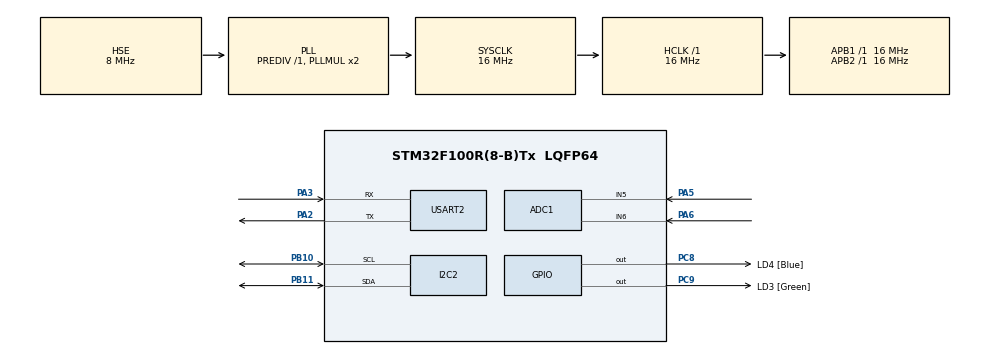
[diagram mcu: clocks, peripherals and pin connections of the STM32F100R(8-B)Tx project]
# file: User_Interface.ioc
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ADC1.Channel-2\#ChannelRegularConversion=ADC_CHANNEL_5
ADC1.Channel-3\#ChannelRegularConversion=ADC_CHANNEL_6
ADC1.EnableRegularConversion=ENABLE
ADC1.NbrOfConversion=2
ADC1.NbrOfConversionFlag=1
ADC1.Rank-2\#ChannelRegularConversion=1
ADC1.Rank-3\#ChannelRegularConversion=2
ADC1.SamplingTime-2\#ChannelRegularConversion=ADC_SAMPLETIME_71CYCLES_5
ADC1.SamplingTime-3\#ChannelRegularConversion=ADC_SAMPLETIME_71CYCLES_5
ADC1.master=1
I2C2.DualAddressMode=I2C_DUALADDRESS_DISABLE
I2C2.GeneralCallMode=I2C_GENERALCALL_DISABLE
I2C2.I2C_Mode=I2C_Standard
I2C2.OwnAddress=0x40
Mcu.Family=STM32F1
Mcu.Name=STM32F100R(8-B)Tx
Mcu.Package=LQFP64
NVIC.I2C2_ER_IRQn=true\:0\:0\:false\:true\:true\:2\:true\:true
NVIC.I2C2_EV_IRQn=true\:0\:0\:false\:true\:true\:1\:true\:true
NVIC.PriorityGroup=NVIC_PRIORITYGROUP_4
PA0-WKUP.Mode=SYS_WakeUp0
PA0-WKUP.Signal=SYS_WKUP
PA13.GPIO_Label=TMS_SWDIO
PA13.Mode=Serial_Wire
PA13.Signal=SYS_JTMS-SWDIO
PA14.GPIO_Label=TCK_SWCLK
PA14.Mode=Serial_Wire
PA14.Signal=SYS_JTCK-SWCLK
PA2.Mode=Asynchronous
PA2.Signal=USART2_TX
PA3.Mode=Asynchronous
PA3.Signal=USART2_RX
PA5.Signal=ADCx_IN5
PA6.Signal=ADCx_IN6
PB10.Mode=I2C
PB10.Signal=I2C2_SCL
PB11.Mode=I2C
PB11.Signal=I2C2_SDA
PC14-OSC32_IN.Mode=LSE-External-Oscillator
PC14-OSC32_IN.Signal=RCC_OSC32_IN
PC15-OSC32_OUT.Mode=LSE-External-Oscillator
PC15-OSC32_OUT.Signal=RCC_OSC32_OUT
PC8.GPIO_Label=LD4 [Blue]
PC8.Signal=GPIO_Output
PC9.GPIO_Label=LD3 [Green]
PC9.Signal=GPIO_Output
PD0-OSC_IN.Mode=HSE-External-Oscillator
PD0-OSC_IN.Signal=RCC_OSC_IN
PD1-OSC_OUT.Mode=HSE-External-Oscillator
PD1-OSC_OUT.Signal=RCC_OSC_OUT
ProjectManager.HeapSize=0x200
ProjectManager.StackSize=0x400
ProjectManager.TargetToolchain=MDK-ARM V5
RCC.ADCPresc=RCC_ADCPCLK2_DIV4
RCC.AHBFreq_Value=16000000
RCC.APB1Freq_Value=16000000
RCC.APB1TimFreq_Value=16000000
RCC.APB2Freq_Value=16000000
RCC.APB2TimFreq_Value=16000000
RCC.HCLKFreq_Value=16000000
RCC.PLLSource=RCC_PLLSOURCE_HSE
RCC.SYSCLKFreq_VALUE=16000000
RCC.SYSCLKSource=RCC_SYSCLKSOURCE_PLLCLK
SH.ADCx_IN5.0=ADC1_IN5,IN5
SH.ADCx_IN6.0=ADC1_IN6,IN6
USART2.VirtualMode=VM_ASYNC
board=STM32VLDISCOVERY

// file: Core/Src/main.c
/* USER CODE BEGIN Header */
/**
  ******************************************************************************
  * @file           : main.c
  * @brief          : Main program body
  ******************************************************************************
  * @attention
  *
  * <h2><center>&copy; Copyright (c) 2021 STMicroelectronics.
  * All rights reserved.</center></h2>
  *
  * This software component is licensed by ST under BSD 3-Clause license,
  * the "License"; You may not use this file except in compliance with the
  * License. You may obtain a copy of the License at:
  *                        opensource.org/licenses/BSD-3-Clause
  *
  ******************************************************************************
  */
/* USER CODE END Header */
#include "main.h"

/* USER CODE BEGIN Includes */
#include <stdio.h>
#include <stdlib.h>
#include <string.h>
/* USER CODE END Includes */

/* USER CODE BEGIN PTD */
typedef enum
{
	IR_UI,
	TEMP,
	SPO2,
	SANITIZE,
	IDLE

} SenseState;

/* USER CODE END PTD */

/* USER CODE BEGIN PM */
#define I2C_SET_TEMP 0x01
#define I2C_SET_SPO2 0x02
#define I2C_SET_UI 0x03
#define I2C_SET_SANITIZER 0x04
#define I2C_SET_IDLE 0x05

/* USER CODE END PM */

ADC_HandleTypeDef hadc1;

I2C_HandleTypeDef hi2c2;

UART_HandleTypeDef huart2;
SenseState g_State = IR_UI;

void SystemClock_Config(void);
static void MX_GPIO_Init(void);
static void MX_USART2_UART_Init(void);
static void MX_ADC1_Init(void);
static void MX_I2C2_Init(void);
static void MX_NVIC_Init(void);
/* USER CODE BEGIN PFP */
void ADC_CH6_Enable(void);
void ADC_CH5_Enable(void);
/* USER CODE END PFP */

/* USER CODE BEGIN 0 */
#define I2C_TX_BUFF_SIZE 4
volatile uint16_t IR_Right = 0;
volatile uint16_t IR_Left = 0;
volatile uint8_t g_i2c_rx_buff = 0;
volatile uint8_t g_i2c_tx_buff = 0;

volatile uint8_t g_IR_UI_status = 0;
/* USER CODE END 0 */

int main(void)
{

  /* MCU Configuration--------------------------------------------------------*/

  /* Reset of all peripherals, Initializes the Flash interface and the Systick. */
  HAL_Init();

  /* Configure the system clock */
  SystemClock_Config();

  /* Initialize all configured peripherals */
  MX_GPIO_Init();
  MX_USART2_UART_Init();
  MX_ADC1_Init();
  MX_I2C2_Init();

  /* Initialize interrupts */
  MX_NVIC_Init();
  /* USER CODE BEGIN 2 */
	g_i2c_rx_buff = 0;
//	HAL_I2C_Slave_Receive_IT(&hi2c2, (uint8_t *) &g_i2c_rx_buff, 1);
	HAL_I2C_EnableListen_IT(&hi2c2);

  /* USER CODE END 2 */

  /* Infinite loop */
  /* USER CODE BEGIN WHILE */

	char Left_IR[5];
	char Right_IR[5];
	memset(Left_IR, '\0', sizeof(Left_IR));
	memset(Right_IR, '\0', sizeof(Right_IR));
	//HAL_ADCEx_Calibration_Start(&hadc1);
  while (1)
  {

		switch (g_State)
		{
			case IR_UI:
				ADC_CH6_Enable();
				HAL_ADC_Start(&hadc1);
				HAL_ADC_PollForConversion(&hadc1, 1000);
				IR_Right = HAL_ADC_GetValue(&hadc1);
				HAL_ADC_Stop(&hadc1);

				ADC_CH5_Enable();
				HAL_ADC_Start(&hadc1);
				HAL_ADC_PollForConversion(&hadc1, 1000);
				IR_Left = HAL_ADC_GetValue(&hadc1);
				HAL_ADC_Stop(&hadc1);

				if ((IR_Right > 800) && (IR_Left < 800))
				{
					g_IR_UI_status = 0x1;
				}
				else if((IR_Right < 800) && (IR_Left > 800))
				{
					g_IR_UI_status = 0x4;
				}
				else if ((IR_Right > 800) && (IR_Left > 800))
				{
					g_IR_UI_status = 0x9;
				}
				else
				{
					g_IR_UI_status = 0xF;
				}
				g_i2c_tx_buff = g_IR_UI_status;
				sprintf(Left_IR, "%d", IR_Left);
				sprintf(Right_IR, "%d", IR_Right);
				HAL_UART_Transmit(&huart2,(uint8_t *)Left_IR,strlen(Left_IR), 1000);
				HAL_UART_Transmit(&huart2,(uint8_t *)"  ",2, 1000);
				HAL_UART_Transmit(&huart2,(uint8_t *)Right_IR,strlen(Right_IR), 1000);
				HAL_UART_Transmit(&huart2,(uint8_t *)"\r\n",2, 1000);
				memset(Left_IR, '\0', sizeof(Left_IR));
				memset(Right_IR, '\0', sizeof(Right_IR));
				HAL_Delay(100);
				break;
			case TEMP:
				break;
			case SPO2:
				break;
			case SANITIZE:
				break;
			case IDLE:
				break;
			}
    /* USER CODE END WHILE */

  }
}

void SystemClock_Config(void)
{
  RCC_OscInitTypeDef RCC_OscInitStruct = {0};
  RCC_ClkInitTypeDef RCC_ClkInitStruct = {0};
  RCC_PeriphCLKInitTypeDef PeriphClkInit = {0};

  /** Initializes the RCC Oscillators according to the specified parameters
  * in the RCC_OscInitTypeDef structure.
  */
  RCC_OscInitStruct.OscillatorType = RCC_OSCILLATORTYPE_HSE;
  RCC_OscInitStruct.HSEState = RCC_HSE_ON;
  RCC_OscInitStruct.HSEPredivValue = RCC_HSE_PREDIV_DIV1;
  RCC_OscInitStruct.PLL.PLLState = RCC_PLL_ON;
  RCC_OscInitStruct.PLL.PLLSource = RCC_PLLSOURCE_HSE;
  RCC_OscInitStruct.PLL.PLLMUL = RCC_PLL_MUL2;
  if (HAL_RCC_OscConfig(&RCC_OscInitStruct) != HAL_OK)
  {
    Error_Handler();
  }
  /** Initializes the CPU, AHB and APB buses clocks
  */
  RCC_ClkInitStruct.ClockType = RCC_CLOCKTYPE_HCLK|RCC_CLOCKTYPE_SYSCLK
                              |RCC_CLOCKTYPE_PCLK1|RCC_CLOCKTYPE_PCLK2;
  RCC_ClkInitStruct.SYSCLKSource = RCC_SYSCLKSOURCE_PLLCLK;
  RCC_ClkInitStruct.AHBCLKDivider = RCC_SYSCLK_DIV1;
  RCC_ClkInitStruct.APB1CLKDivider = RCC_HCLK_DIV1;
  RCC_ClkInitStruct.APB2CLKDivider = RCC_HCLK_DIV1;

  if (HAL_RCC_ClockConfig(&RCC_ClkInitStruct, FLASH_LATENCY_0) != HAL_OK)
  {
    Error_Handler();
  }
  PeriphClkInit.PeriphClockSelection = RCC_PERIPHCLK_ADC;
  PeriphClkInit.AdcClockSelection = RCC_ADCPCLK2_DIV4;
  if (HAL_RCCEx_PeriphCLKConfig(&PeriphClkInit) != HAL_OK)
  {
    Error_Handler();
  }
}

/**
  * @brief NVIC Configuration.
  * @retval None
  */
static void MX_NVIC_Init(void)
{
  /* I2C2_EV_IRQn interrupt configuration */
  HAL_NVIC_SetPriority(I2C2_EV_IRQn, 0, 0);
  HAL_NVIC_EnableIRQ(I2C2_EV_IRQn);
  /* I2C2_ER_IRQn interrupt configuration */
  HAL_NVIC_SetPriority(I2C2_ER_IRQn, 0, 0);
  HAL_NVIC_EnableIRQ(I2C2_ER_IRQn);
}

static void MX_ADC1_Init(void)
{

//  ADC_ChannelConfTypeDef sConfig = {0};

  /** Common config
  */
  hadc1.Instance = ADC1;
  hadc1.Init.ScanConvMode = ADC_SCAN_ENABLE;
  hadc1.Init.ContinuousConvMode = DISABLE;
  hadc1.Init.DiscontinuousConvMode = DISABLE;
  hadc1.Init.ExternalTrigConv = ADC_SOFTWARE_START;
  hadc1.Init.DataAlign = ADC_DATAALIGN_RIGHT;
  hadc1.Init.NbrOfConversion = 2;
  if (HAL_ADC_Init(&hadc1) != HAL_OK)
  {
    Error_Handler();
  }
  /** Configure Regular Channel
  */
//  sConfig.Channel = ADC_CHANNEL_5;
//  sConfig.Rank = ADC_REGULAR_RANK_1;
//  sConfig.SamplingTime = ADC_SAMPLETIME_71CYCLES_5;
//  if (HAL_ADC_ConfigChannel(&hadc1, &sConfig) != HAL_OK)
//  {
//    Error_Handler();
//  }
//  /** Configure Regular Channel
//  */
//  sConfig.Channel = ADC_CHANNEL_6;
//  sConfig.Rank = ADC_REGULAR_RANK_2;
//  if (HAL_ADC_ConfigChannel(&hadc1, &sConfig) != HAL_OK)
//  {
//    Error_Handler();
//  }

}

static void MX_I2C2_Init(void)
{

  hi2c2.Instance = I2C2;
  hi2c2.Init.ClockSpeed = 100000;
  hi2c2.Init.DutyCycle = I2C_DUTYCYCLE_2;
  hi2c2.Init.OwnAddress1 = 128;
  hi2c2.Init.AddressingMode = I2C_ADDRESSINGMODE_7BIT;
  hi2c2.Init.DualAddressMode = I2C_DUALADDRESS_DISABLE;
  hi2c2.Init.OwnAddress2 = 0;
  hi2c2.Init.GeneralCallMode = I2C_GENERALCALL_DISABLE;
  hi2c2.Init.NoStretchMode = I2C_NOSTRETCH_DISABLE;
  if (HAL_I2C_Init(&hi2c2) != HAL_OK)
  {
    Error_Handler();
  }

}

static void MX_USART2_UART_Init(void)
{

  huart2.Instance = USART2;
  huart2.Init.BaudRate = 115200;
  huart2.Init.WordLength = UART_WORDLENGTH_8B;
  huart2.Init.StopBits = UART_STOPBITS_1;
  huart2.Init.Parity = UART_PARITY_NONE;
  huart2.Init.Mode = UART_MODE_TX_RX;
  huart2.Init.HwFlowCtl = UART_HWCONTROL_NONE;
  huart2.Init.OverSampling = UART_OVERSAMPLING_16;
  if (HAL_UART_Init(&huart2) != HAL_OK)
  {
    Error_Handler();
  }

}

static void MX_GPIO_Init(void)
{
  GPIO_InitTypeDef GPIO_InitStruct = {0};

  /* GPIO Ports Clock Enable */
  __HAL_RCC_GPIOC_CLK_ENABLE();
  __HAL_RCC_GPIOD_CLK_ENABLE();
  __HAL_RCC_GPIOA_CLK_ENABLE();
  __HAL_RCC_GPIOB_CLK_ENABLE();

  /*Configure GPIO pin Output Level */
  HAL_GPIO_WritePin(GPIOC, LD4_Pin|LD3_Pin, GPIO_PIN_RESET);

  /*Configure GPIO pins : LD4_Pin LD3_Pin */
  GPIO_InitStruct.Pin = LD4_Pin|LD3_Pin;
  GPIO_InitStruct.Mode = GPIO_MODE_OUTPUT_PP;
  GPIO_InitStruct.Pull = GPIO_NOPULL;
  GPIO_InitStruct.Speed = GPIO_SPEED_FREQ_LOW;
  HAL_GPIO_Init(GPIOC, &GPIO_InitStruct);

}

/* USER CODE BEGIN 4 */
void HAL_I2C_AddrCallback (I2C_HandleTypeDef * hi2c, uint8_t TransferDirection, uint16_t AddrMatchCode)
{
	UNUSED(AddrMatchCode);

	switch (TransferDirection)
	{
		case I2C_DIRECTION_TRANSMIT:
			if (HAL_I2C_Slave_Seq_Receive_IT(&hi2c2, (uint8_t *) &g_i2c_rx_buff, 1, I2C_NEXT_FRAME) != HAL_OK)
			{
				 Error_Handler();
			}

			break;
		case I2C_DIRECTION_RECEIVE:
			if (HAL_I2C_Slave_Seq_Transmit_IT(&hi2c2, (uint8_t *) &g_i2c_tx_buff, 1, I2C_LAST_FRAME) != HAL_OK)
			{
				 Error_Handler();
			}
			break;
	}

}

void HAL_I2C_SlaveTxCpltCallback(I2C_HandleTypeDef *hi2c)
{
	//Send completion callback function
	g_i2c_tx_buff = 0;

}
void HAL_I2C_SlaveRxCpltCallback(I2C_HandleTypeDef *hi2c)
{
	//Receive completion callback function
	switch (g_i2c_rx_buff)
	{
		case I2C_SET_SPO2:
			g_State = SPO2;
			break;
		case I2C_SET_TEMP :
			g_State = TEMP;
			break;
		case I2C_SET_UI :
			g_State = IR_UI;
			break;
		case I2C_SET_SANITIZER :
			g_State = SANITIZE;
			break;
		case I2C_SET_IDLE :
			g_State = IDLE;
			break;

	}

	g_i2c_rx_buff = 0;

}

void HAL_I2C_ListenCpltCallback(I2C_HandleTypeDef *hi2c)
{
  HAL_I2C_EnableListen_IT(hi2c); // Restart
}

void ADC_CH5_Enable(void)
{
  /** Configure Regular Channel
  */
	ADC_ChannelConfTypeDef sConfig = {0};
  sConfig.Channel = ADC_CHANNEL_5;
  sConfig.Rank = 1;
  sConfig.SamplingTime = ADC_SAMPLETIME_7CYCLES_5;
  if (HAL_ADC_ConfigChannel(&hadc1, &sConfig) != HAL_OK)
  {
    Error_Handler();
  }
}
void ADC_CH6_Enable(void)
{
  /** Configure Regular Channel
  */
	ADC_ChannelConfTypeDef sConfig = {0};
  sConfig.Channel = ADC_CHANNEL_6;
  sConfig.Rank = 1;
	sConfig.SamplingTime = ADC_SAMPLETIME_7CYCLES_5;
  if (HAL_ADC_ConfigChannel(&hadc1, &sConfig) != HAL_OK)
  {
    Error_Handler();
  }
}
/* USER CODE END 4 */

void Error_Handler(void)
{
  __disable_irq();
  while (1)
  {
  }
}

/************************ (C) COPYRIGHT STMicroelectronics *****END OF FILE****/
